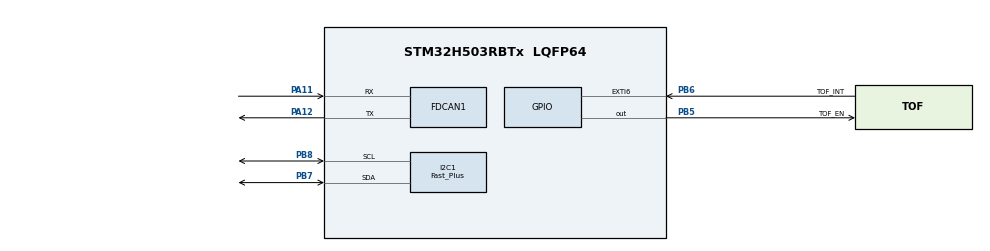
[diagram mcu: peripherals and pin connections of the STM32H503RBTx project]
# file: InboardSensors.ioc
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BOOTPATH.BootPathName=LEGACY
BOOTPATH.UserSelectedBootPath=LEGACY
CORTEX_M33_NS.Number-Cortex_Memory_Protection_Unit_Region0_OTP_RO_AREAS_Settings=MPU_REGION_NUMBER0
CORTEX_M33_NS.default_mode_Activation=1
FDCAN1.AutoRetransmission=ENABLE
FDCAN1.CalculateBaudRateNominal=1000000
FDCAN1.CalculateTimeBitNominal=1000
FDCAN1.CalculateTimeQuantumNominal=12.5
FDCAN1.DataSyncJumpWidth=2
FDCAN1.DataTimeSeg1=7
FDCAN1.DataTimeSeg2=2
FDCAN1.FrameFormat=FDCAN_FRAME_FD_BRS
FDCAN1.Mode=FDCAN_MODE_NORMAL
FDCAN1.NominalPrescaler=1
FDCAN1.NominalSyncJumpWidth=20
FDCAN1.NominalTimeSeg1=59
FDCAN1.NominalTimeSeg2=20
GPDMA1.CIRCULARMODE_GPDMACH0=DISABLE
GPDMA1.DATAEXCHANGEDESRCBYTE_GPDMACH0=DMA_EXCHANGE_SRC_BYTE
GPDMA1.DATAEXCHANGEDESRCBYTE_GPDMACH1=DMA_EXCHANGE_SRC_BYTE
GPDMA1.DATAEXCHANGEDESTBYTE_GPDMACH1=NONE
GPDMA1.DATAEXCHANGE_GPDMACH0-SIMPLEREQUEST_GPDMACH0=DMA_EXCHANGE_NONE
GPDMA1.DATAEXCHANGE_GPDMACH1-SIMPLEREQUEST_GPDMACH1=DMA_EXCHANGE_DEST_BYTE|DMA_EXCHANGE_SRC_BYTE
GPDMA1.DATAHANDLING_GPDMACH0=ENABLE
GPDMA1.DATAHANDLING_GPDMACH1=ENABLE
GPDMA1.DIRECTION_GPDMACH1=DMA_MEMORY_TO_PERIPH
GPDMA1.IPHANDLE_GPDMACH0-SIMPLEREQUEST_GPDMACH0=__NULL
GPDMA1.IPHANDLE_GPDMACH1-SIMPLEREQUEST_GPDMACH1=__NULL
GPDMA1.PRIORITY_GPDMACH0=DMA_LOW_PRIORITY_HIGH_WEIGHT
GPDMA1.PRIORITY_GPDMACH1=DMA_HIGH_PRIORITY
GPDMA1.REQUEST_GPDMACH0=GPDMA1_REQUEST_I2C1_RX
GPDMA1.REQUEST_GPDMACH1=GPDMA1_REQUEST_I2C1_TX
GPDMA1.TRANSFERALLOCATEDPORTDEST_GPDMACH1=DMA_DEST_ALLOCATED_PORT0
GPDMA1.TRANSFERALLOCATEDPORTSRC_GPDMACH1=DMA_SRC_ALLOCATED_PORT0
GPDMA1.TRIGGERPOLARITY_GPDMACH0=DMA_TRIG_POLARITY_FALLING
GPDMA1.TRIGGERSELECTION_GPDMACH0=GPDMA1_TRIGGER_EXTI_LINE6
I2C1.AddressingMode=I2C_ADDRESSINGMODE_7BIT
I2C1.DualAddressMode=I2C_DUALADDRESS_DISABLE
I2C1.GeneralCallMode=I2C_GENERALCALL_DISABLE
I2C1.I2C_Fall_Time=120
I2C1.I2C_Rise_Time=120
I2C1.I2C_Speed_Mode=I2C_Fast_Plus
I2C1.Timing=0x0050040C
Mcu.Family=STM32H5
Mcu.Name=STM32H503RBTx
Mcu.Package=LQFP64
NVIC.GPDMA1_Channel0_IRQn=true\:0\:0\:false\:false\:true\:false\:true\:true
NVIC.GPDMA1_Channel1_IRQn=true\:0\:0\:false\:false\:true\:false\:true\:true
NVIC.PriorityGroup=NVIC_PRIORITYGROUP_4
PA11.Mode=FDCAN_Activate
PA11.Signal=FDCAN1_RX
PA12.Mode=FDCAN_Activate
PA12.Signal=FDCAN1_TX
PA13(JTMS/SWDIO).Mode=Serial_Wire
PA13(JTMS/SWDIO).Signal=DEBUG_JTMS-SWDIO
PA14(JTCK/SWCLK).Mode=Serial_Wire
PA14(JTCK/SWCLK).Signal=DEBUG_JTCK-SWCLK
PB3(JTDO/TRACESWO).Signal=DEBUG_JTDO-SWO
PB5.GPIO_Label=TOF_EN
PB5.Signal=GPIO_Output
PB6.GPIO_Label=TOF_INT
PB6.GPIO_ModeDefaultEXTI=GPIO_MODE_IT_FALLING
PB6.GPIO_PuPd=GPIO_PULLUP
PB6.Signal=GPXTI6
PB7.Mode=I2C
PB7.Signal=I2C1_SDA
PB8.Mode=I2C
PB8.Signal=I2C1_SCL
ProjectManager.HeapSize=0x200
ProjectManager.StackSize=0x400
ProjectManager.TargetToolchain=CMake
RCC.ADCFreq_Value=32000000
RCC.AHBFreq_Value=32000000
RCC.APB1Freq_Value=32000000
RCC.APB1TimFreq_Value=32000000
RCC.APB2Freq_Value=32000000
RCC.APB2TimFreq_Value=32000000
RCC.APB3Freq_Value=32000000
RCC.CSI_VALUE=4000000
RCC.CortexFreq_Value=32000000
RCC.EPOD_VALUE=4000000
RCC.FDCANClockSelection=RCC_FDCANCLKSOURCE_PLL1Q
RCC.HCLKFreq_Value=32000000
RCC.HSE_VALUE=25000000
RCC.HSI48_VALUE=48000000
RCC.HSI_VALUE=64000000
RCC.LSE_VALUE=32768
RCC.LSIRC_VALUE=32000
RCC.PLLFRACN=0
RCC.PLLN=40
RCC.SYSCLKFreq_VALUE=32000000
RCC.USBFreq_Value=48000000
RCC.VCOOutputFreq_Value=160000000
VP_BOOTPATH_VS_BOOTPATH.Mode=BP_Activate
VP_CORTEX_M33_NS_VS_Hclk.Mode=Hclk_Mode
VP_GPDMA1_VS_GPDMACH0.Mode=SIMPLEREQUEST_GPDMACH0
VP_GPDMA1_VS_GPDMACH1.Mode=SIMPLEREQUEST_GPDMACH1
VP_ICACHE_VS_ICACHE.Mode=DirectMappedCache
VP_MEMORYMAP_VS_MEMORYMAP.Mode=CurAppReg
VP_PWR_VS_LPOM.Mode=PowerOptimisation
VP_PWR_VS_SECSignals.Mode=Security/Privilege
board=custom

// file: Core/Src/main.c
/* USER CODE BEGIN Header */
/**
  ******************************************************************************
  * @file           : main.c
  * @brief          : Main program body
  ******************************************************************************
  * @attention
  *
  * Copyright (c) 2026 STMicroelectronics.
  * All rights reserved.
  *
  * This software is licensed under terms that can be found in the LICENSE file
  * in the root directory of this software component.
  * If no LICENSE file comes with this software, it is provided AS-IS.
  *
  ******************************************************************************
  */
/* USER CODE END Header */
#include "main.h"
#include "fdcan.h"
#include "gpdma.h"
#include "i2c.h"
#include "icache.h"
#include "gpio.h"

/* USER CODE BEGIN Includes */

#include "CubeCAN.h"
#include "Logomatic.h"
#include "stm32h503xx.h"
#include "stm32h5xx_hal_def.h"
#include "stm32h5xx_ll_gpio.h"
#include "stm32h5xx_ll_i2c.h"

/* USER CODE END Includes */

/* USER CODE BEGIN PV */

volatile uint8_t rx_buffer;

/* USER CODE END PV */

void SystemClock_Config(void);
static void MPU_Config(void);
/* USER CODE BEGIN PFP */

static void canRxCallback(
  	const CubeCAN_Config_Context *const context,
  	const CubeCAN_Identifier *const identifier,
  	const uint8_t *const data,
  	const uint8_t size
  ){
  UNUSED(context);
  UNUSED(identifier);
  UNUSED(data);
  UNUSED(size);

  LOGOMATIC_DEBUG("Inboard Node received something, but no action will be taken");
}

/* USER CODE END PFP */

int main(void)
{

  /* MCU Configuration--------------------------------------------------------*/

  /* MPU Configuration--------------------------------------------------------*/
  MPU_Config();

  /* Reset of all peripherals, Initializes the Flash interface and the Systick. */
  HAL_Init();

  /* Configure the system clock */
  SystemClock_Config();

  /* Initialize all configured peripherals */
  MX_GPIO_Init();
  MX_GPDMA1_Init();
  MX_FDCAN1_Init();
  MX_ICACHE_Init();
  MX_I2C1_Init();
  /* USER CODE BEGIN 2 */

  LL_GPIO_SetOutputPin(GPIOB, GPIO_PIN_5); // Power on the sensor

  CubeCAN_Config cube_can_config = {
    .context = {
      .busid_user_context = GRCAN_BUS_DATA
    },
    .rx_callback = canRxCallback,
    .sending_node_id = GRCAN_ALL // TODO: Confirm the real name for this node
  };

  CubeCAN_Handle* p_h_cube_can = CubeCAN_Entrance(&hfdcan1, &cube_can_config);

  /* USER CODE END 2 */

  /* Infinite loop */
  while (1)
  {

  }
}

void SystemClock_Config(void)
{
  LL_FLASH_SetLatency(LL_FLASH_LATENCY_1);
  while(LL_FLASH_GetLatency()!= LL_FLASH_LATENCY_1)
  {
  }

  LL_PWR_SetRegulVoltageScaling(LL_PWR_REGU_VOLTAGE_SCALE3);
  while (LL_PWR_IsActiveFlag_VOS() == 0)
  {
  }
  LL_RCC_HSI_Enable();

   /* Wait till HSI is ready */
  while(LL_RCC_HSI_IsReady() != 1)
  {
  }

  LL_RCC_HSI_SetCalibTrimming(64);
  LL_RCC_HSI_SetDivider(LL_RCC_HSI_DIV_2);
  LL_RCC_CSI_Enable();

   /* Wait till CSI is ready */
  while(LL_RCC_CSI_IsReady() != 1)
  {
  }

  LL_RCC_CSI_SetCalibTrimming(16);
  LL_RCC_PLL1_SetSource(LL_RCC_PLL1SOURCE_CSI);
  LL_RCC_PLL1_SetVCOInputRange(LL_RCC_PLLINPUTRANGE_4_8);
  LL_RCC_PLL1_SetVCOOutputRange(LL_RCC_PLLVCORANGE_WIDE);
  LL_RCC_PLL1_SetM(1);
  LL_RCC_PLL1_SetN(40);
  LL_RCC_PLL1_SetP(2);
  LL_RCC_PLL1_SetQ(2);
  LL_RCC_PLL1_SetR(2);
  LL_RCC_PLL1Q_Enable();
  LL_RCC_PLL1_Enable();

   /* Wait till PLL is ready */
  while(LL_RCC_PLL1_IsReady() != 1)
  {
  }

  LL_RCC_SetSysClkSource(LL_RCC_SYS_CLKSOURCE_HSI);

   /* Wait till System clock is ready */
  while(LL_RCC_GetSysClkSource() != LL_RCC_SYS_CLKSOURCE_STATUS_HSI)
  {
  }

  LL_RCC_SetAHBPrescaler(LL_RCC_SYSCLK_DIV_1);
  LL_RCC_SetAPB1Prescaler(LL_RCC_APB1_DIV_1);
  LL_RCC_SetAPB2Prescaler(LL_RCC_APB2_DIV_1);
  LL_RCC_SetAPB3Prescaler(LL_RCC_APB3_DIV_1);
  LL_SetSystemCoreClock(32000000);

   /* Update the time base */
  if (HAL_InitTick (TICK_INT_PRIORITY) != HAL_OK)
  {
    Error_Handler();
  }
}

 /* MPU Configuration */

void MPU_Config(void)
{

  /* Disables the MPU */
  LL_MPU_Disable();

  /** Initializes and configures the Region 0 and the memory to be protected
  */
  LL_MPU_ConfigRegion(LL_MPU_REGION_NUMBER0, LL_MPU_REGION_ALL_RO|LL_MPU_INSTRUCTION_ACCESS_DISABLE|LL_MPU_ACCESS_NOT_SHAREABLE, LL_MPU_ATTRIBUTES_NUMBER0, 0x08FFF000, 0x08FFFFFF);
  LL_MPU_EnableRegion(LL_MPU_REGION_NUMBER0);

  /** Initializes and configures the Attribute 0 and the memory to be protected
  */
  LL_MPU_ConfigAttributes(LL_MPU_ATTRIBUTES_NUMBER0, LL_MPU_NOT_CACHEABLE);
  /* Enables the MPU */
  LL_MPU_Enable(LL_MPU_CTRL_PRIVILEGED_DEFAULT);

}

void Error_Handler(void)
{
  __disable_irq();
  while (1)
  {
  }
}
